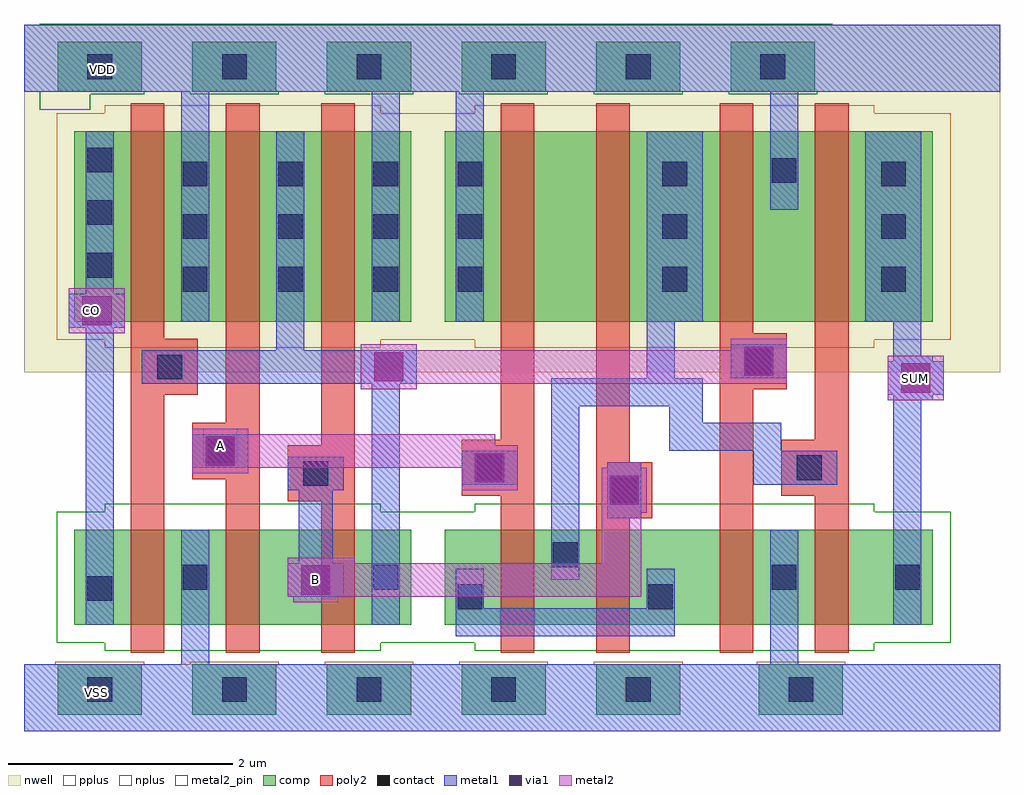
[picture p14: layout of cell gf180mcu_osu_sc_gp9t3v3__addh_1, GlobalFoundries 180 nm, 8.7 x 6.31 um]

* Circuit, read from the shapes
.subckt gf180mcu_osu_sc_gp9t3v3__addh_1 A B CO SUM VDD VSS
XM1 VSS n1 CO VSS nfet_03v3 w=0.85u l=0.3u
XM2 n2 A VSS VSS nfet_03v3 w=0.85u l=0.3u
XM3 n1 B n2 VSS nfet_03v3 w=0.85u l=0.3u
XM4 n3 A n4 VSS nfet_03v3 w=0.85u l=0.3u
XM5 n4 B n3 VSS nfet_03v3 w=0.85u l=0.3u
XM6 VSS n1 n4 VSS nfet_03v3 w=0.85u l=0.3u
XM7 SUM n3 VSS VSS nfet_03v3 w=0.85u l=0.3u
XM8 VDD n1 CO VDD pfet_03v3 w=1.7u l=0.3u
XM9 n1 A VDD VDD pfet_03v3 w=1.7u l=0.3u
XM10 VDD B n1 VDD pfet_03v3 w=1.7u l=0.3u
XM11 n5 A VDD VDD pfet_03v3 w=1.7u l=0.3u
XM12 n3 B n5 VDD pfet_03v3 w=1.7u l=0.3u
XM13 VDD n1 n3 VDD pfet_03v3 w=1.7u l=0.3u
XM14 SUM n3 VDD VDD pfet_03v3 w=1.7u l=0.3u
.ends

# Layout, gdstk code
import gdstk
lib = gdstk.Library(unit=1e-6, precision=1e-09)
def R(c, l, rs):  # rectangles x0, y0, x1, y1
    for r in rs: c.add(gdstk.rectangle(r[:2], r[2:], *l))
def A(c, l, x, y, w, h, nx, ny, dx, dy):  # array of equal rectangles
    R(c, l, [(x+i*dx, y+j*dy, x+i*dx+w, y+j*dy+h) for i in range(nx) for j in range(ny)])
nwell = (21, 0)
comp = (22, 0)
poly2 = (30, 0)
pplus = (31, 0)
nplus = (32, 0)
contact = (33, 0)
metal1 = (34, 0)
via1 = (35, 0)
metal2 = (36, 0)
metal2_pin = (36, 10)

gf180mcu_osu_sc_gp9t3v3_ = lib.new_cell('gf180mcu_osu_sc_gp9t3v3__addh_1')
R(gf180mcu_osu_sc_gp9t3v3_, nwell, [(0,3.2,8.7,6.3)])
A(gf180mcu_osu_sc_gp9t3v3_, comp, 0.3, 0.15, 0.75, 0.45, 5, 1, 1.2, 0)
A(gf180mcu_osu_sc_gp9t3v3_, comp, 0.3, 5.7, 0.75, 0.45, 6, 1, 1.2, 0)
R(gf180mcu_osu_sc_gp9t3v3_, comp, [(6.55,0.15,7.3,0.6), (0.45,0.95,3.45,1.8), (3.75,0.95,8.1,1.8), (0.45,3.65,3.45,5.35), (3.75,3.65,8.1,5.35)])
R(gf180mcu_osu_sc_gp9t3v3_, poly2, [(0.95,0.7,1.25,3), (1.8,0.7,2.1,2.25), (2.65,0.7,2.95,2.05), (4.25,0.7,4.55,2.1), (5.1,0.7,5.4,1.9), (6.2,0.7,6.5,3.05), (7.05,0.7,7.35,2.1), (5.1,1.9,5.6,2.4), (2.35,2.05,2.95,2.55), (3.9,2.1,4.55,2.6), (6.75,2.1,7.35,2.6), (1.5,2.25,2.1,2.75), (5.1,2.4,5.4,5.6), (2.65,2.55,2.95,5.6), (4.25,2.6,4.55,5.6), (7.05,2.6,7.35,5.6), (1.8,2.75,2.1,5.6), (0.95,3,1.55,3.5), (6.2,3.05,6.8,3.55), (0.95,3.5,1.25,5.6), (6.2,3.55,6.5,5.6)])
A(gf180mcu_osu_sc_gp9t3v3_, pplus, 0.28, 0.13, 0.79, 0.49, 5, 1, 1.2, 0)
R(gf180mcu_osu_sc_gp9t3v3_, pplus, [(0,0,8.7,0.6), (6.53,0.13,7.32,0.62), (0.72,3.42,3.18,3.49), (4.02,3.42,7.58,3.49), (0.29,3.49,8.26,5.51), (0.72,5.51,3.18,5.58), (4.02,5.51,7.58,5.58)])
A(gf180mcu_osu_sc_gp9t3v3_, nplus, 1.48, 5.68, 0.79, 0.02, 5, 1, 1.2, 0)
R(gf180mcu_osu_sc_gp9t3v3_, nplus, [(0.72,0.72,3.18,0.79), (4.02,0.72,7.58,0.79), (0.29,0.79,8.26,1.96), (0.72,1.96,3.18,2.03), (4.02,1.96,7.58,2.03), (0.14,5.54,0.59,5.68), (0.14,5.68,1.07,5.7), (0,5.7,8.7,6.3), (0,5.7,8.7,6.3), (0.14,6.3,7.21,6.31)])
A(gf180mcu_osu_sc_gp9t3v3_, contact, 0.565, 0.265, 0.22, 0.22, 5, 1, 1.2, 0)
A(gf180mcu_osu_sc_gp9t3v3_, contact, 1.415, 3.92, 0.22, 0.22, 3, 3, 0.85, 0.47)
A(gf180mcu_osu_sc_gp9t3v3_, contact, 3.865, 3.92, 0.22, 0.22, 1, 3, 0, 0.47)
A(gf180mcu_osu_sc_gp9t3v3_, contact, 5.69, 3.92, 0.22, 0.22, 1, 3, 0, 0.47)
A(gf180mcu_osu_sc_gp9t3v3_, contact, 7.64, 3.92, 0.22, 0.22, 1, 3, 0, 0.47)
A(gf180mcu_osu_sc_gp9t3v3_, contact, 0.565, 4.045, 0.22, 0.22, 1, 3, 0, 0.47)
A(gf180mcu_osu_sc_gp9t3v3_, contact, 0.565, 5.815, 0.22, 0.22, 6, 1, 1.2, 0)
R(gf180mcu_osu_sc_gp9t3v3_, contact, [(6.815,0.265,7.035,0.485), (3.865,1.09,4.085,1.31), (5.565,1.09,5.785,1.31), (0.565,1.165,0.785,1.385), (1.415,1.265,1.635,1.485), (3.115,1.265,3.335,1.485), (6.665,1.265,6.885,1.485), (7.765,1.265,7.985,1.485), (4.715,1.465,4.935,1.685), (5.24,2.04,5.46,2.26), (2.49,2.19,2.71,2.41), (4.04,2.24,4.26,2.46), (6.89,2.24,7.11,2.46), (1.64,2.39,1.86,2.61), (1.19,3.14,1.41,3.36), (6.44,3.19,6.66,3.41), (6.665,4.89,6.885,5.11)])
R(gf180mcu_osu_sc_gp9t3v3_, metal1, [(0,0,8.7,0.6), (1.4,0.6,1.65,1.8), (6.65,0.6,6.9,1.8), (3.85,0.85,5.8,1.1), (0.55,0.95,0.8,3.6), (3.1,0.95,3.35,3.1), (7.75,0.95,8,2.95), (3.85,1.1,4.1,1.45), (5.55,1.1,5.8,1.45), (2.35,1.2,2.85,1.5), (4.7,1.35,4.95,2.9), (2.45,1.5,2.75,2.15), (5.2,1.9,5.5,2.4), (2.35,2.15,2.85,2.45), (3.9,2.2,4.4,2.5), (6.5,2.2,7.25,2.5), (1.5,2.35,2,2.65), (5.75,2.5,6.75,2.75), (5.75,2.75,6.05,2.9), (4.7,2.9,6.05,3.15), (7.75,2.95,8.1,3), (7.7,3,8.2,3.3), (1.05,3.1,3.5,3.4), (5.55,3.15,5.8,3.65), (6.3,3.15,6.8,3.45), (7.75,3.3,8.1,3.35), (7.75,3.35,8,3.65), (2.25,3.4,2.5,5.35), (0.4,3.6,0.9,3.9), (1.4,3.65,1.65,5.7), (3.1,3.65,3.35,5.7), (3.85,3.65,4.1,5.7), (5.55,3.65,6.05,5.35), (7.5,3.65,8,5.35), (0.55,3.9,0.8,5.35), (6.65,4.65,6.9,5.7), (0,5.7,8.7,6.3)])
R(gf180mcu_osu_sc_gp9t3v3_, via1, [(2.47,1.22,2.73,1.48), (5.22,2.02,5.48,2.28), (4.02,2.22,4.28,2.48), (1.62,2.37,1.88,2.63), (7.82,3.02,8.08,3.28), (3.12,3.12,3.38,3.38), (6.42,3.17,6.68,3.43), (0.52,3.62,0.78,3.88)])
R(gf180mcu_osu_sc_gp9t3v3_, metal2, [(2.4,1.15,2.8,1.2), (2.35,1.2,5.5,1.5), (2.35,1.5,2.95,1.55), (5.15,1.5,5.5,1.95), (5.15,1.95,5.55,2.35), (3.9,2.15,4.4,2.35), (1.5,2.3,2,2.35), (1.5,2.35,4.4,2.55), (5.2,2.35,5.5,2.4), (1.5,2.55,4.2,2.65), (1.5,2.65,2,2.7), (7.7,2.95,8.2,3.35), (3,3.05,3.5,3.1), (3,3.1,6.8,3.4), (3,3.4,3.5,3.45), (6.3,3.4,6.8,3.5), (0.4,3.55,0.9,3.95)])
R(gf180mcu_osu_sc_gp9t3v3_, metal2_pin, [(1.6,2.4,1.9,2.7)])
gf180mcu_osu_sc_gp9t3v3_.add(gdstk.Label('VDD', (0.7,5.9), layer=22, texttype=0))
gf180mcu_osu_sc_gp9t3v3_.add(gdstk.Label('VSS', (0.65,0.35), layer=22, texttype=0))
gf180mcu_osu_sc_gp9t3v3_.add(gdstk.Label('B', (2.6,1.35), layer=36, texttype=10))
gf180mcu_osu_sc_gp9t3v3_.add(gdstk.Label('SUM', (7.95,3.15), layer=36, texttype=10))
gf180mcu_osu_sc_gp9t3v3_.add(gdstk.Label('CO', (0.6,3.75), layer=36, texttype=10))
gf180mcu_osu_sc_gp9t3v3_.add(gdstk.Label('A', (1.75,2.55), layer=36, texttype=10))

lib.write_gds('gf180mcu_osu_sc_gp9t3v3__addh_1.gds')
